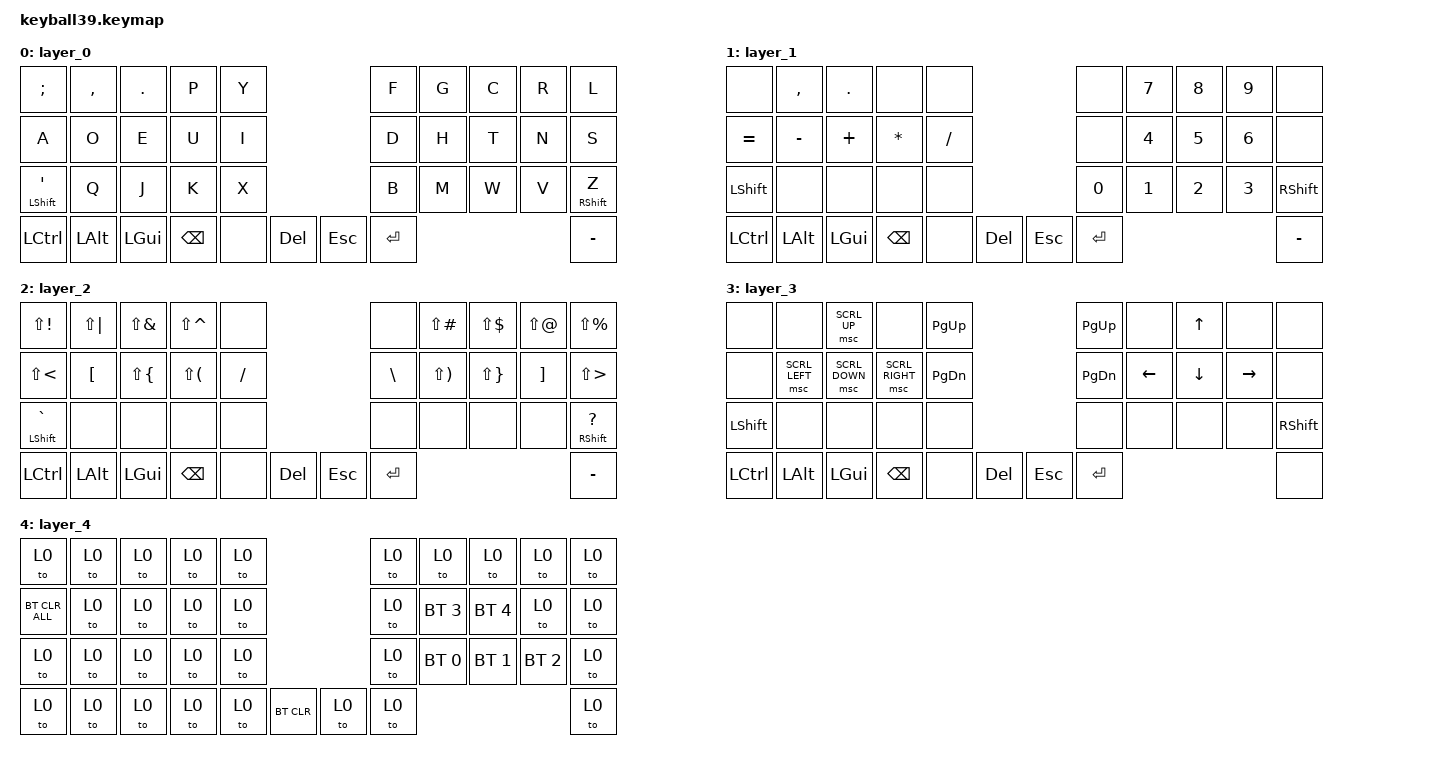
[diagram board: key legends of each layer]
#define DEFAULT 0
#define NUM     1
#define SYM     2
#define FUN     3
#define MOUSE   4
#define SCROLL  5
#define SNIPE   6

#include <behaviors/mouse_keys.dtsi>
#include <dt-bindings/zmk/mouse.h>
#include <behaviors.dtsi>
#include <dt-bindings/zmk/bt.h>
#include <dt-bindings/zmk/keys.h>
#include <dt-bindings/zmk/pointing.h>

/ {
    // custom shift using mod-morph 

    combos {
        compatible = "zmk,combos";

        layer0 {
            bindings = <&to 0>;
            key-positions = <26 36>;
        };

        layer1 {
            bindings = <&to 1>;
            key-positions = <27 36>;
        };

        layer2 {
            bindings = <&to 2>;
            key-positions = <28 36>;
        };

        layer3 {
            bindings = <&to 3>;
            key-positions = <16 36>;
        };

        layer4 {
            bindings = <&to 4>;
            key-positions = <36 17>;
        };

        space {
            bindings = <&kp SPACE>;
            key-positions = <34>;
        };

        tab {
            bindings = <&kp TAB>;
            key-positions = <20 34>;
        };
    };

    keymap {
        compatible = "zmk,keymap";

        layer_0 {
            bindings = <
&kp SEMI             &kp COMMA  &kp DOT   &kp P          &kp Y                       &kp F      &kp G  &kp C  &kp R  &kp L
&kp A                &kp O      &kp E     &kp U          &kp I                       &kp D      &kp H  &kp T  &kp N  &kp S
&mt LEFT_SHIFT APOS  &kp Q      &kp J     &kp K          &kp X                       &kp B      &kp M  &kp W  &kp V  &mt RIGHT_SHIFT Z
&kp LCTRL            &kp LALT   &kp LGUI  &kp BACKSPACE  &none  &kp DELETE  &kp ESC  &kp ENTER                       &kp MINUS
            >;
        };

        layer_1 {
            bindings = <
&none           &kp COMMA  &kp PERIOD  &none          &none                           &none      &kp N7  &kp N8  &kp N9  &none
&kp EQUAL       &kp MINUS  &kp PLUS    &kp ASTERISK   &kp SLASH                       &none      &kp N4  &kp N5  &kp N6  &none
&kp LEFT_SHIFT  &none      &none       &none          &none                           &kp N0     &kp N1  &kp N2  &kp N3  &kp RIGHT_SHIFT
&kp LCTRL       &kp LALT   &kp LGUI    &kp BACKSPACE  &none      &kp DELETE  &kp ESC  &kp ENTER                          &kp MINUS
            >;
        };

        layer_2 {
            bindings = <
&kp LS(EXCL)          &kp LS(PIPE)  &kp LS(AMPS)  &kp LS(CARET)  &none                             &none      &kp LS(POUND)  &kp LS(DLLR)  &kp LS(AT)  &kp LS(PRCNT)
&kp LS(LT)            &kp LBKT      &kp LS(LBRC)  &kp LS(LPAR)   &kp FSLH                          &kp BSLH   &kp LS(RPAR)   &kp LS(RBRC)  &kp RBKT    &kp LS(GT)
&mt LEFT_SHIFT GRAVE  &none         &none         &none          &none                             &none      &none          &none         &none       &mt RIGHT_SHIFT QUESTION
&kp LCTRL             &kp LALT      &kp LGUI      &kp BACKSPACE  &none     &kp DELETE  &kp ESCAPE  &kp ENTER                                           &kp MINUS
            >;
        };

        layer_3 {
            bindings = <
&none           &none           &msc SCRL_UP    &none            &kp PAGE_UP                         &kp PAGE_UP    &none     &kp UP    &none      &none
&none           &msc SCRL_LEFT  &msc SCRL_DOWN  &msc SCRL_RIGHT  &kp PAGE_DOWN                       &kp PAGE_DOWN  &kp LEFT  &kp DOWN  &kp RIGHT  &none
&kp LEFT_SHIFT  &none           &none           &none            &none                               &none          &none     &none     &none      &kp RIGHT_SHIFT
&kp LCTRL       &kp LALT        &kp LGUI        &kp BACKSPACE    &none          &kp DELETE  &kp ESC  &kp ENTER                                     &none
            >;
        };

        layer_4 {
            bindings = <
&to 0           &to 0  &to 0  &to 0  &to 0                     &to 0  &to 0         &to 0         &to 0         &to 0
&bt BT_CLR_ALL  &to 0  &to 0  &to 0  &to 0                     &to 0  &bt BT_SEL 3  &bt BT_SEL 4  &to 0         &to 0
&to 0           &to 0  &to 0  &to 0  &to 0                     &to 0  &bt BT_SEL 0  &bt BT_SEL 1  &bt BT_SEL 2  &to 0
&to 0           &to 0  &to 0  &to 0  &to 0  &bt BT_CLR  &to 0  &to 0                                            &to 0
            >;
        };
    };
};
